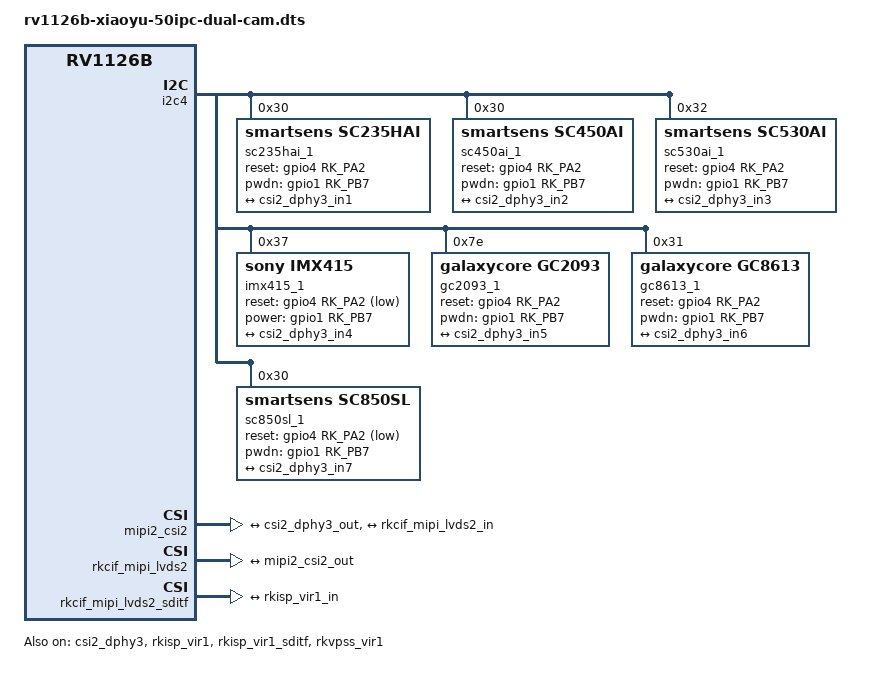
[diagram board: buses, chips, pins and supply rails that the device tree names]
// SPDX-License-Identifier: (GPL-2.0+ OR MIT)
/*
 * Copyright (c) 2025 Rockchip Electronics Co., Ltd.
 * Copyright (c) 2026 flippy (flippy@sina.com)
 */

#include "rv1126b-xiaoyu-50ipc.dts"

/*
 * csi2_dphy0 -> csi0(rx0) clk0 + 4 lane ==> imx415_0
 *                           or + 2 lane ==> sc450ai_0
 * csi2_dphy1 -> csi0(rx0) clk0 + 2 lane 0/1
 * csi2_dphy2 -> csi0(rx0) clk1 + 2 lane 2/3
 * csi2_dphy3 -> csi1(rx1) clk0 + 4 lane ==> imx415_1
 *                           or + 2 lane ==> sc450ai_1
 * csi2_dphy4 -> csi1(rx1) clk0 + 2 lane 0/1
 * csi2_dphy5 -> csi1(rx1) clk1 + 2 lane 2/3
 */
&csi2_dphy3 {
	status = "okay";

	ports {
		#address-cells = <1>;
		#size-cells = <0>;

		port@0 {
			reg = <0>;
			#address-cells = <1>;
			#size-cells = <0>;

			csi2_dphy3_in1: endpoint@1 {
				reg = <1>;
				remote-endpoint = <&sc235hai_1_out>;
				data-lanes = <1 2>;
			};

			csi2_dphy3_in2: endpoint@2 {
				reg = <2>;
				remote-endpoint = <&sc450ai_1_out>;
				data-lanes = <1 2>;
			};

			csi2_dphy3_in3: endpoint@3 {
				reg = <3>;
				remote-endpoint = <&sc530ai_1_out>;
				data-lanes = <1 2 3 4>;
			};

			csi2_dphy3_in4: endpoint@4 {
				reg = <4>;
				remote-endpoint = <&imx415_1_out>;
				data-lanes = <1 2 3 4>;
			};

			csi2_dphy3_in5: endpoint@5 {
				reg = <5>;
				remote-endpoint = <&gc2093_1_out>;
				data-lanes = <1 2>;
			};

			csi2_dphy3_in6: endpoint@6 {
				reg = <6>;
				remote-endpoint = <&gc8613_1_out>;
				data-lanes = <1 2 3 4>;
			};

			csi2_dphy3_in7: endpoint@7 {
				reg = <7>;
				remote-endpoint = <&sc850sl_1_out>;
				data-lanes = <1 2 3 4>;
			};

			/*
			csi2_dphy3_in8: endpoint@8 {
				reg = <8>;
				remote-endpoint = <&imx586_1_out>;
				data-lanes = <1 2 3 4>;
			};
			*/

			/*
			csi2_dphy3_in9: endpoint@9 {
				reg = <9>;
				remote-endpoint = <&sc635ai_1_out>;
				data-lanes = <1 2 3 4>;
			};
			*/
		};

		port@1 {
			reg = <1>;
			#address-cells = <1>;
			#size-cells = <0>;

			csi2_dphy3_out: endpoint@0 {
				reg = <0>;
				remote-endpoint = <&mipi2_csi2_in>;
			};
		};
	};
};

/* sensor1 */
&i2c4 {
	pinctrl-0 = <&i2c4m2_pins>;
	status = "okay";

	sc235hai_1: sc235hai-1@30 {
		compatible = "smartsens,sc235hai";
		reg = <0x30>;
		clocks = <&cru CLK_MIPI1_OUT2IO>;
		clock-names = "xvclk";
		reset-gpios = <&gpio4 RK_PA2 GPIO_ACTIVE_HIGH>;
		pwdn-gpios = <&gpio1 RK_PB7 GPIO_ACTIVE_HIGH>;
		pinctrl-names = "default";
		pinctrl-0 = <&cam_clk1_pins>;
		rockchip,camera-hdr-mode = <5>; //HDR_X2
		rockchip,camera-module-index = <1>;
		rockchip,camera-module-facing = "back";
		rockchip,camera-module-name = "xiaoyu";
		rockchip,camera-module-lens-name = "50ipc";
		status = "okay";

		port {
			sc235hai_1_out: endpoint {
				remote-endpoint = <&csi2_dphy3_in1>;
				data-lanes = <1 2>;
			};
		};
	};

	sc450ai_1: sc450ai-1@30 {
		compatible = "smartsens,sc450ai";
		reg = <0x30>;
		clocks = <&cru CLK_MIPI1_OUT2IO>;
		clock-names = "xvclk";
		reset-gpios = <&gpio4 RK_PA2 GPIO_ACTIVE_HIGH>;
		pwdn-gpios = <&gpio1 RK_PB7 GPIO_ACTIVE_HIGH>;
		pinctrl-names = "default";
		pinctrl-0 = <&cam_clk1_pins>;
		rockchip,camera-hdr-mode = <5>; //HDR_X2
		rockchip,camera-module-index = <1>;
		rockchip,camera-module-facing = "back";
		rockchip,camera-module-name = "xiaoyu";
		rockchip,camera-module-lens-name = "50ipc";
		status = "okay";

		port {
			sc450ai_1_out: endpoint {
				remote-endpoint = <&csi2_dphy3_in2>;
				data-lanes = <1 2>;
			};
		};
	};

	sc530ai_1: sc530ai-1@32 {
		compatible = "smartsens,sc530ai";
		reg = <0x32>;
		clocks = <&cru CLK_MIPI1_OUT2IO>;
		clock-names = "xvclk";
		reset-gpios = <&gpio4 RK_PA2 GPIO_ACTIVE_HIGH>;
		pwdn-gpios = <&gpio1 RK_PB7 GPIO_ACTIVE_HIGH>;
		pinctrl-names = "default";
		pinctrl-0 = <&cam_clk1_pins>;
		rockchip,camera-hdr-mode = <5>; //HDR_X2
		rockchip,camera-module-index = <1>;
		rockchip,camera-module-facing = "back";
		rockchip,camera-module-name = "xiaoyu";
		rockchip,camera-module-lens-name = "50ipc";
		status = "okay";

		port {
			sc530ai_1_out: endpoint {
				remote-endpoint = <&csi2_dphy3_in3>;
				data-lanes = <1 2 3 4>;
			};
		};
	};

	imx415_1: imx415-1@37 {
		compatible = "sony,imx415";
		reg = <0x37>;
		clocks = <&cru CLK_MIPI1_OUT2IO>;
		clock-names = "xvclk";
		reset-gpios = <&gpio4 RK_PA2 GPIO_ACTIVE_LOW>;
		power-gpios = <&gpio1 RK_PB7 GPIO_ACTIVE_HIGH>;
		pinctrl-names = "default";
		pinctrl-0 = <&cam_clk1_pins>;
		rockchip,camera-hdr-mode = <5>; //HDR_X2
		rockchip,camera-module-index = <1>;
		rockchip,camera-module-facing = "back";
		rockchip,camera-module-name = "xiaoyu";
		rockchip,camera-module-lens-name = "50ipc";
		status = "okay";

		port {
			imx415_1_out: endpoint {
				remote-endpoint = <&csi2_dphy3_in4>;
				data-lanes = <1 2 3 4>;
			};
		};
	};

	gc2093_1: gc2093-1@7e {
		compatible = "galaxycore,gc2093";
		reg = <0x7e>;
		clocks = <&cru CLK_MIPI1_OUT2IO>;
		clock-names = "xvclk";
		pinctrl-names = "default";
		reset-gpios = <&gpio4 RK_PA2 GPIO_ACTIVE_HIGH>;
		pwdn-gpios = <&gpio1 RK_PB7 GPIO_ACTIVE_HIGH>;
		pinctrl-0 = <&cam_clk1_pins>;
		rockchip,camera-hdr-mode = <5>; //HDR_X2
		rockchip,camera-module-index = <1>;
		rockchip,camera-module-facing = "back";
		rockchip,camera-module-name = "xiaoyu";
		rockchip,camera-module-lens-name = "50ipc";
		status = "okay";

		port {
			gc2093_1_out: endpoint {
				remote-endpoint = <&csi2_dphy3_in5>;
				data-lanes = <1 2>;
			};
		};
	};

	gc8613_1: gc8613-1@31 {
		compatible = "galaxycore,gc8613";
		reg = <0x31>;
		clocks = <&cru CLK_MIPI1_OUT2IO>;
		clock-names = "xvclk";
		reset-gpios = <&gpio4 RK_PA2 GPIO_ACTIVE_HIGH>;
		pwdn-gpios = <&gpio1 RK_PB7 GPIO_ACTIVE_HIGH>;
		pinctrl-names = "default";
		pinctrl-0 = <&cam_clk1_pins>;
		rockchip,camera-hdr-mode = <5>; //HDR_X2
		rockchip,camera-module-index = <1>;
		rockchip,camera-module-facing = "back";
		rockchip,camera-module-name = "xiaoyu";
		rockchip,camera-module-lens-name = "50ipc";
		status = "okay";

		port {
			gc8613_1_out: endpoint {
				remote-endpoint = <&csi2_dphy3_in6>;
				data-lanes = <1 2 3 4>;
			};
		};
	};

	sc850sl_1: sc850sl-1@30 {
		compatible = "smartsens,sc850sl";
		reg = <0x30>;
		clocks = <&cru CLK_MIPI1_OUT2IO>;
		clock-names = "xvclk";
		reset-gpios = <&gpio4 RK_PA2 GPIO_ACTIVE_LOW>;
		pwdn-gpios = <&gpio1 RK_PB7 GPIO_ACTIVE_HIGH>;
		pinctrl-names = "default";
		pinctrl-0 = <&cam_clk1_pins>;
		rockchip,camera-hdr-mode = <5>; //HDR_X2
		rockchip,camera-module-index = <1>;
		rockchip,camera-module-facing = "back";
		rockchip,camera-module-name = "xiaoyu";
		rockchip,camera-module-lens-name = "50ipc";
		status = "okay";

		port {
			sc850sl_1_out: endpoint {
				remote-endpoint = <&csi2_dphy3_in7>;
				data-lanes = <1 2 3 4>;
			};
		};
	};

	/*
	imx586_1: imx586-1@1a {
		compatible = "sony,imx586";
		reg = <0x1a>;
		clocks = <&cru CLK_MIPI1_OUT2IO>;
		clock-names = "xvclk";
		reset-gpios = <&gpio4 RK_PA2 GPIO_ACTIVE_HIGH>;
		pwdn-gpios = <&gpio1 RK_PB7 GPIO_ACTIVE_HIGH>;
		pinctrl-names = "default";
		pinctrl-0 = <&cam_clk1_pins>;
		rockchip,camera-hdr-mode = <5>; //HDR_X2
		rockchip,camera-module-index = <1>;
		rockchip,camera-module-facing = "back";
		rockchip,camera-module-name = "xiaoyu";
		rockchip,camera-module-lens-name = "50ipc";
		status = "okay";

		port {
			imx586_1_out: endpoint {
				remote-endpoint = <&csi2_dphy3_in8>;
				data-lanes = <1 2 3 4>;
			};
		};
	};
	*/

	/*
	sc635hai_1: sc635hai-1@30 {
		compatible = "smartsens,sc635hai";
		reg = <0x30>;
		clocks = <&cru CLK_MIPI1_OUT2IO>;
		clock-names = "xvclk";
		reset-gpios = <&gpio4 RK_PA2 GPIO_ACTIVE_HIGH>;
		pwdn-gpios = <&gpio1 RK_PB7 GPIO_ACTIVE_HIGH>;
		pinctrl-names = "default";
		pinctrl-0 = <&cam_clk1_pins>;
		rockchip,camera-hdr-mode = <5>; //HDR_X2
		rockchip,camera-module-index = <1>;
		rockchip,camera-module-facing = "back";
		rockchip,camera-module-name = "xiaoyu";
		rockchip,camera-module-lens-name = "50ipc";
		status = "okay";

		port {
			sc635hai_1_out: endpoint {
				remote-endpoint = <&csi2_dphy3_in9>;
				data-lanes = <1 2 3 4>;
			};
		};
	};
	*/
};

&mipi2_csi2 {
	status = "okay";

	ports {
		#address-cells = <1>;
		#size-cells = <0>;

		port@0 {
			reg = <0>;
			#address-cells = <1>;
			#size-cells = <0>;

			mipi2_csi2_in: endpoint@1 {
				reg = <1>;
				remote-endpoint = <&csi2_dphy3_out>;
			};
		};

		port@1 {
			reg = <1>;
			#address-cells = <1>;
			#size-cells = <0>;

			mipi2_csi2_out: endpoint@0 {
				reg = <0>;
				remote-endpoint = <&rkcif_mipi_lvds2_in>;
			};
		};
	};
};

&rkcif_mipi_lvds2 {
	status = "okay";

	port {
		rkcif_mipi_lvds2_in: endpoint {
			remote-endpoint = <&mipi2_csi2_out>;
		};
	};
};

&rkcif_mipi_lvds2_sditf {
	status = "okay";

	port {
		rkcif_mipi_lvds2_sditf_out: endpoint {
			remote-endpoint = <&rkisp_vir1_in>;
		};
	};
};

&rkisp_vir1 {
	status = "okay";

	port {
		#address-cells = <1>;
		#size-cells = <0>;

		rkisp_vir1_in: endpoint@0 {
			reg = <0>;
			remote-endpoint = <&rkcif_mipi_lvds2_sditf_out>;
		};
	};
};

&rkisp_vir1_sditf {
	status = "okay";
};

&rkvpss_vir1 {
	status = "okay";
};
